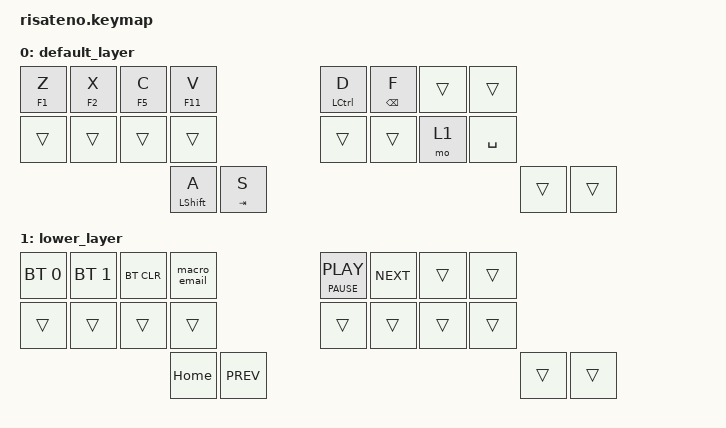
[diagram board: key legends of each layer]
#include <behaviors.dtsi>
#include <dt-bindings/zmk/bt.h>
#include <dt-bindings/zmk/keys.h>
#include <dt-bindings/zmk/outputs.h>
#include <dt-bindings/zmk/ext_power.h>

#include "chords.dtsi"

/ {
    behaviors {
        ht_s_tab: ht_s_tab {
            compatible = "zmk,behavior-hold-tap";
            #binding-cells = <2>;
            tapping-term-ms = <250>;
            flavor = "tap-preferred";
            bindings = <&kp>, <&kp>;
        };

        ht_f_bspc: ht_f_bspc {
            compatible = "zmk,behavior-hold-tap";
            #binding-cells = <2>;
            tapping-term-ms = <250>;
            flavor = "tap-preferred";
            bindings = <&kp>, <&kp>;
        };

        macro_email: macro_email {
            compatible = "zmk,behavior-macro";
            #binding-cells = <0>;
            bindings = <
                &kp T &kp I &kp R &kp E &kp J &kp K &kp I &kp N &kp A
                &kp N0 &kp N0 &kp N5 &kp AT
                &kp G &kp M &kp A &kp I &kp L &kp DOT
                &kp C &kp O &kp M
            >;
        };

        ht_media_play: ht_media_play {
            compatible = "zmk,behavior-hold-tap";
            #binding-cells = <2>;
            tapping-term-ms = <250>;
            flavor = "tap-preferred";
            bindings = <&kp>, <&kp>;
        };

        ht_f1: ht_f1 {
            compatible = "zmk,behavior-hold-tap";
            #binding-cells = <2>;
            tapping-term-ms = <250>;
            flavor = "hold-preferred";
            bindings = <&kp>, <&kp>;
        };

        ht_f2: ht_f2 {
            compatible = "zmk,behavior-hold-tap";
            #binding-cells = <2>;
            tapping-term-ms = <250>;
            flavor = "hold-preferred";
            bindings = <&kp>, <&kp>;
        };

        ht_f5: ht_f5 {
            compatible = "zmk,behavior-hold-tap";
            #binding-cells = <2>;
            tapping-term-ms = <250>;
            flavor = "hold-preferred";
            bindings = <&kp>, <&kp>;
        };

        ht_f11: ht_f11 {
            compatible = "zmk,behavior-hold-tap";
            #binding-cells = <2>;
            tapping-term-ms = <250>;
            flavor = "hold-preferred";
            bindings = <&kp>, <&kp>;
        };
    };

    keymap {
        compatible = "zmk,keymap";

        default_layer {
            bindings = <
                &ht_f1 F1 Z  &ht_f2 F2 X  &ht_f5 F5 C   &ht_f11 F11 V        &trans &trans &trans &trans
                &mt LSHIFT A &ht_s_tab TAB S &mt LCTRL D &ht_f_bspc BSPC F &trans &trans &trans &trans
                                                       &mo 1 &kp SPACE   &trans &trans
            >;
        };

        lower_layer {
            bindings = <
                &bt BT_SEL 0  &bt BT_SEL 1  &bt BT_CLR &macro_email              &trans &trans &trans &trans
                &kp HOME &kp C_PREV &ht_media_play C_PAUSE C_PLAY &kp C_NEXT       &trans &trans &trans &trans
                                          &trans &trans        &trans &trans
            >;
        };
    };
};
